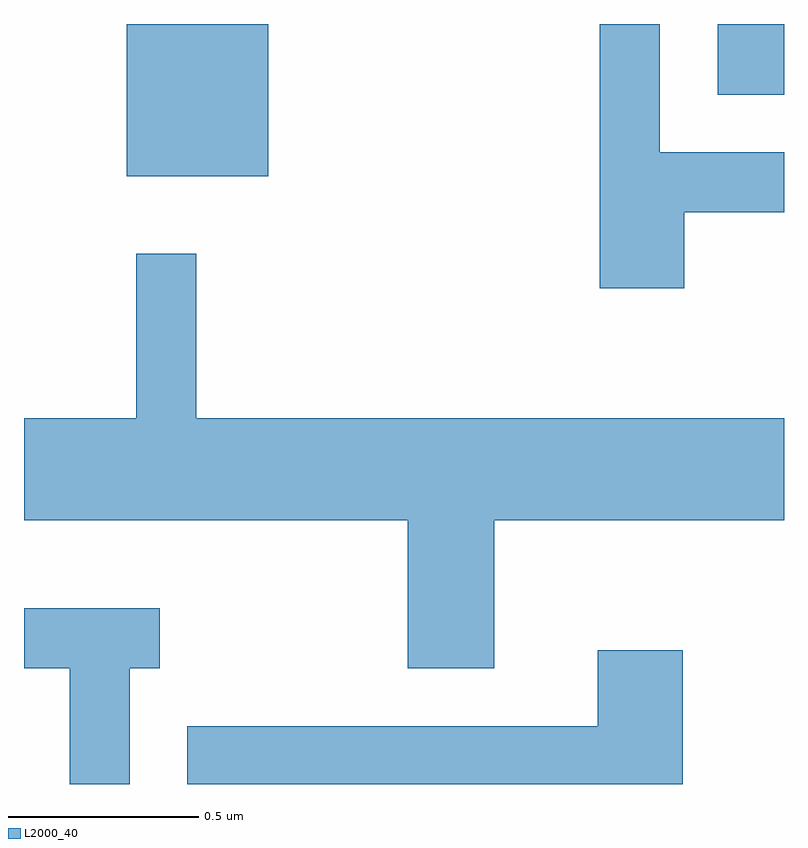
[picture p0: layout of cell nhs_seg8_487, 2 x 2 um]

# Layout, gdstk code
import gdstk
lib = gdstk.Library(unit=1e-6, precision=1e-09)
def R(c, l, rs):  # rectangles x0, y0, x1, y1
    for r in rs: c.add(gdstk.rectangle(r[:2], r[2:], *l))
def P(c, l, *ps):  # polygons
    for p in ps: c.add(gdstk.Polygon(p, *l))
L2000_40 = (2000, 40)

nhs_seg8_487 = lib.new_cell('nhs_seg8_487')
R(nhs_seg8_487, L2000_40, [(188.881,1883.941,189.254,1884.342), (190.436,1884.156,190.611,1884.342)])
P(nhs_seg8_487, L2000_40, [(190.349,1883.846),(190.611,1883.846),(190.611,1884.004),(190.284,1884.004),(190.284,1884.342),(190.126,1884.342),(190.126,1883.646),(190.349,1883.646)],
  [(189.849,1883.036),(190.611,1883.036),(190.611,1883.304),(189.064,1883.304),(189.064,1883.738),(188.906,1883.738),(188.906,1883.304),(188.611,1883.304),(188.611,1883.036),(189.621,1883.036),(189.621,1882.646),(189.849,1882.646)],
  [(188.889,1882.646),(188.968,1882.646),(188.968,1882.804),(188.611,1882.804),(188.611,1882.646),(188.731,1882.646),(188.731,1882.342),(188.889,1882.342)],
  [(190.344,1882.694),(190.121,1882.694),(190.121,1882.494),(189.041,1882.494),(189.041,1882.342),(190.344,1882.342)])

lib.write_gds('nhs_seg8_487.gds')
